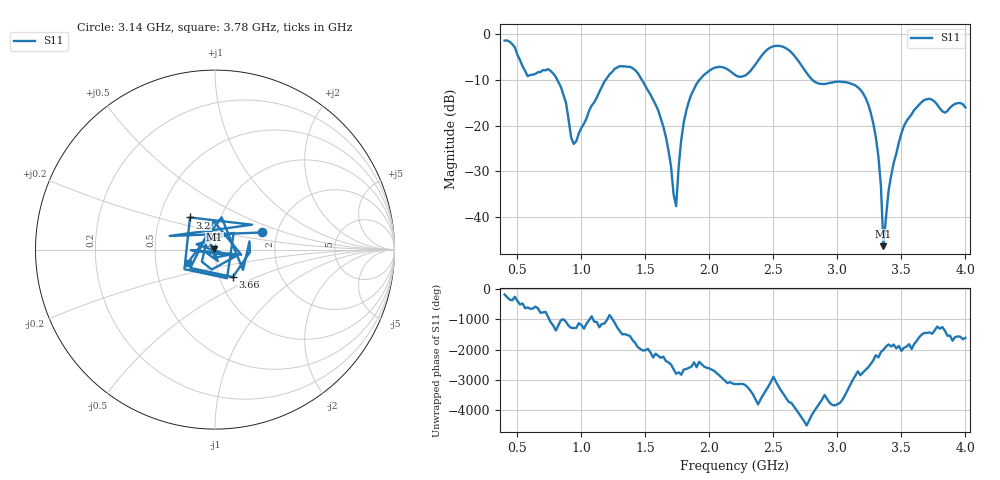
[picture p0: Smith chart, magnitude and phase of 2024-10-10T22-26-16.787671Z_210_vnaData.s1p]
! Created with skrf (http://scikit-rf.org).
# Hz S RI R 50.0
!freq ReS11 ImS11
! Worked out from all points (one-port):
!   181 points, 400 MHz to 4 GHz, reference 50 ohm
!   lowest |S11| = -46.4 dB at 3.36 GHz (marker M1), VSWR 1.01, Z = 49.6 + j0.17 ohm
!   |S11| at or under -10 dB: 812.4 MHz to 1.188 GHz (375.7 MHz wide, 37.6 % of centre); 1.474 GHz to 1.921 GHz (446.9 MHz wide, 26.3 % of centre); 2.807 GHz to end of sweep
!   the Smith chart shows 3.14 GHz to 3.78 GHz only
!   S11 on the Smith chart (normalised r, x): 3.14 GHz: 1.66, +0.34; 3.2 GHz: 0.71, +0.27; 3.66 GHz: 1.16, -0.37; 3.78 GHz: 0.73, -0.11
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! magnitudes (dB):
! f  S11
! 400 MHz  -1.3
! 580 MHz  -9.1
! 740 MHz  -7.6
! 860 MHz  -13.3
! 940 MHz  -24.0
! 1.3 GHz  -6.9
! 1.44 GHz  -8.5
! 1.6 GHz  -16.6
! 1.68 GHz  -25.4
! 1.74 GHz  -37.6
! 1.76 GHz  -29.0
! 1.8 GHz  -19.2
! 1.9 GHz  -10.8
! 2.2 GHz  -8.9
! 2.5 GHz  -2.6
! 2.66 GHz  -4.5
! 2.84 GHz  -10.6
! 3.1 GHz  -10.7
! 3.14 GHz  -11.2
! 3.2 GHz  -12.9
! 3.3 GHz  -22.5
! 3.34 GHz  -33.2
! 3.36 GHz  -46.4
! 3.42 GHz  -30.9
! 3.56 GHz  -18.2
! 3.66 GHz  -14.8
! 3.78 GHz  -15.4
! 4 GHz  -16.0
